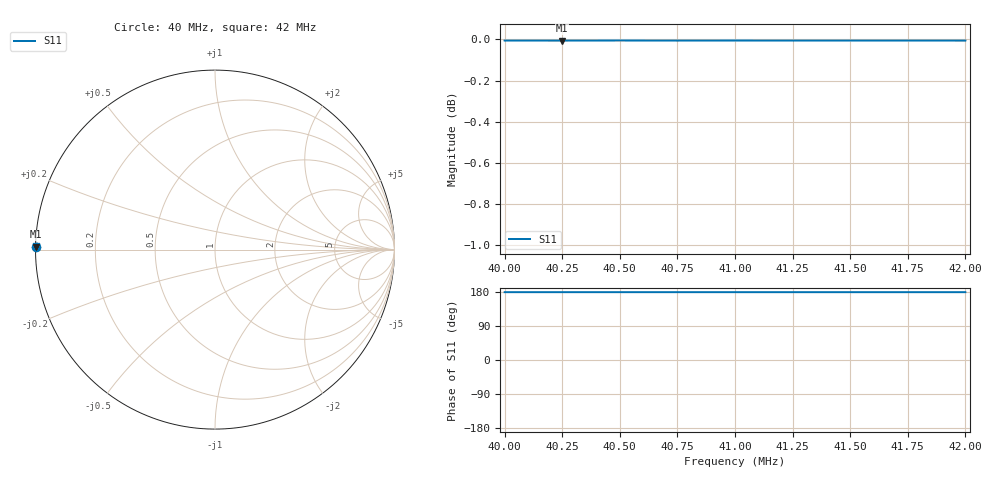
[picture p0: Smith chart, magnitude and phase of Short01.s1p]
# Hz S RI R 50
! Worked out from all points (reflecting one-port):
!   9 points, 40 MHz to 42 MHz, reference 50 ohm
!   lowest |S11| = 0.0 dB at 40.25 MHz (marker M1)
!   phase of S11 starts at 179 deg and turns -0 deg over the sweep
4e7  -0.9993 0.0165
4.025e7  -0.9992 0.0167
4.05e7  -0.9993 0.0168
4.075e7  -0.9992 0.0169
4.1e7  -0.9993 0.017
4.125e7  -0.9992 0.0171
4.15e7  -0.9993 0.0172
4.175e7  -0.9993 0.0173
4.2e7  -0.9992 0.0174
